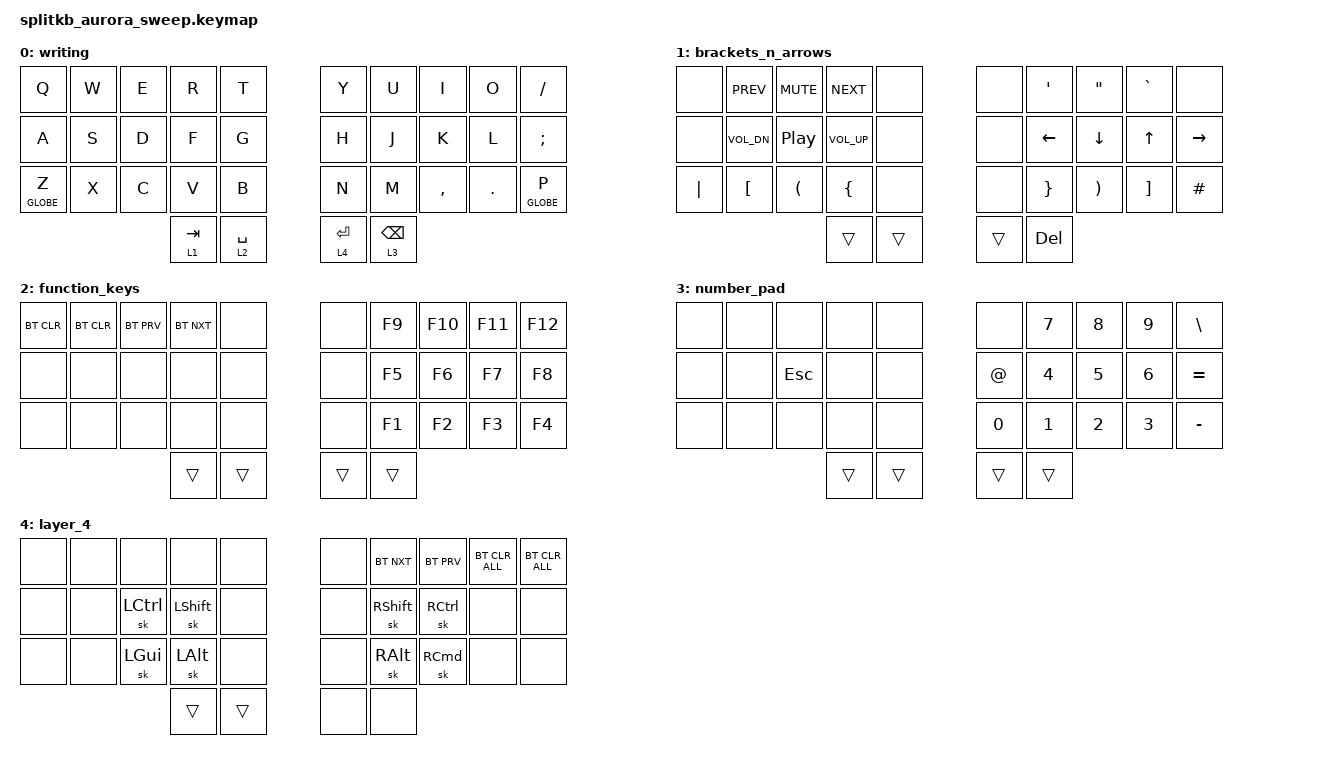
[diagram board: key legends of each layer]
/*
 * Copyright (c) 2022 The ZMK Contributors
 *
 * SPDX-License-Identifier: MIT
 */

#include <behaviors.dtsi>
#include <dt-bindings/zmk/bt.h>
#include <dt-bindings/zmk/keys.h>

&sk { quick-release; };

&mt {
    //  flavor = "tap-preferred";

    tapping_term_ms = <300>;
};

/ {
    combos {
        compatible = "zmk,combos";

        Esc {
            bindings = <&kp ESC>;
            key-positions = <6 7>;
        };
    };

    keymap {
        compatible = "zmk,keymap";

        writing {
            bindings = <
&kp Q        &kp W        &kp E         &kp R            &kp T      &kp Y  &kp U  &kp I      &kp O    &kp SLASH
&kp A        &kp S        &kp D         &kp F            &kp G      &kp H  &kp J  &kp K      &kp L    &kp SEMI
&mt GLOBE Z  &kp X        &kp C         &kp V            &kp B      &kp N  &kp M  &kp COMMA  &kp DOT  &mt GLOBE P
&lt 1 TAB    &lt 2 SPACE  &lt 4 RETURN  &lt 3 BACKSPACE
            >;
        };

        brackets_n_arrows {
            bindings = <
&none     &kp C_PREV        &kp K_MUTE            &kp C_NEXT       &none      &none  &kp SQT          &kp DOUBLE_QUOTES      &kp GRAVE          &none
&none     &kp C_VOL_DN      &kp C_PLAY_PAUSE      &kp C_VOLUME_UP  &none      &none  &kp LEFT         &kp DOWN_ARROW         &kp UP_ARROW       &kp RIGHT
&kp PIPE  &kp LEFT_BRACKET  &kp LEFT_PARENTHESIS  &kp LEFT_BRACE   &none      &none  &kp RIGHT_BRACE  &kp RIGHT_PARENTHESIS  &kp RIGHT_BRACKET  &kp HASH
&trans    &trans            &trans                &kp DEL
            >;
        };

        function_keys {
            bindings = <
&bt BT_CLR  &bt BT_CLR  &bt BT_PRV  &bt BT_NXT  &none      &none  &kp F9  &kp F10  &kp F11  &kp F12
&none       &none       &none       &none       &none      &none  &kp F5  &kp F6   &kp F7   &kp F8
&none       &none       &none       &none       &none      &none  &kp F1  &kp F2   &kp F3   &kp F4
&trans      &trans      &trans      &trans
            >;
        };

        number_pad {
            bindings = <
&none   &none   &none       &none   &none      &none        &kp NUMBER_7  &kp NUMBER_8  &kp NUMBER_9  &kp BACKSLASH
&none   &none   &kp ESCAPE  &none   &none      &kp AT_SIGN  &kp NUMBER_4  &kp NUMBER_5  &kp NUMBER_6  &kp EQUAL
&none   &none   &none       &none   &none      &kp N0       &kp NUMBER_1  &kp NUMBER_2  &kp NUMBER_3  &kp MINUS
&trans  &trans  &trans      &trans
            >;
        };

        layer_4 {
            bindings = <
&none   &none   &none      &none       &none      &none  &bt BT_NXT       &bt BT_PRV         &bt BT_CLR_ALL  &bt BT_CLR_ALL
&none   &none   &sk LCTRL  &sk LSHIFT  &none      &none  &sk RIGHT_SHIFT  &sk RCTRL          &none           &none
&none   &none   &sk LGUI   &sk LALT    &none      &none  &sk RIGHT_ALT    &sk RIGHT_COMMAND  &none           &none
&trans  &trans  &none      &none
            >;
        };
    };

    sensors {
    };
};

&led_strip { chain-length = <23>; };
